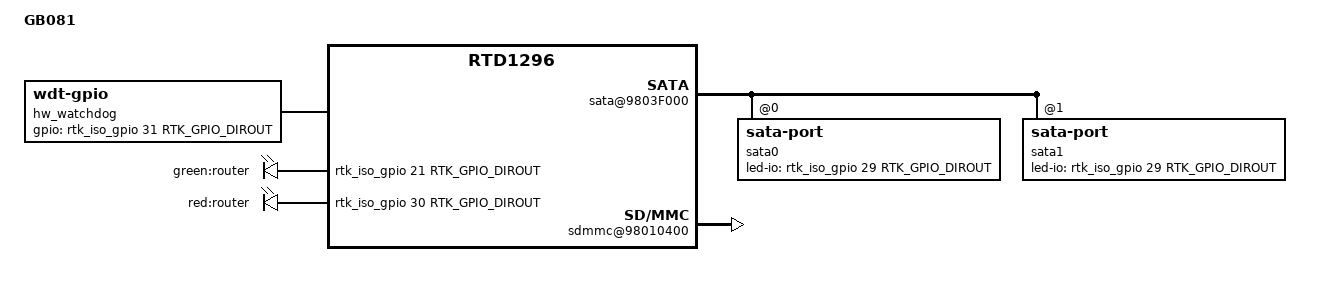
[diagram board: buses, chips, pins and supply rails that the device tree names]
/dts-v1/;

#include "rtd1296-4GB.dtsi"

/include/ "rtd1296-nonat.dtsi"

/ {
	model= "GB081";
	chosen {
		default-hostname = "iStoreOS";
	};

	aliases {
		led-boot = &led_green;
		led-failsafe = &led_red;
		led-running = &led_green;
		led-upgrade = &led_red;
	};

	hw_watchdog {
		compatible = "linux,wdt-gpio";
		gpios = <&rtk_iso_gpio 31 RTK_GPIO_DIROUT GPIO_ACTIVE_HIGH>;
		hw_algo = "toggle";
		hw_margin_ms = <2000>;
		always-running;
	};

	sata@9803F000 {
		sata0: sata-port@0 {
			led-io = <&rtk_iso_gpio 29 RTK_GPIO_DIROUT 0>;
		};
		sata1: sata-port@1 {
			led-io = <&rtk_iso_gpio 29 RTK_GPIO_DIROUT 0>;
			/delete-property/ gpios; // SATA power is not assignd to gpio, (original igpio15)
		};
	};

	sdmmc@98010400 {
		status = "okay";
	};

	hwnat: gmac@98060000 {
		led-gpios = <&rtk_iso_gpio 27 RTK_GPIO_DIROUT GPIO_ACTIVE_HIGH>, <&rtk_iso_gpio 28 RTK_GPIO_DIROUT GPIO_ACTIVE_HIGH>;
		gpio_link_led_pattern = <0 2 2 1>;
	};

	rtk_misc_gpio: rtk_misc_gpio@9801b100 {
		gpios = <&rtk_misc_gpio 8 RTK_GPIO_DIRIN 0>;
	};

	rtk_iso_gpio: rtk_iso_gpio@98007100 {
		/* WAN led, USB power */
		gpios = <&rtk_iso_gpio 32 RTK_GPIO_DIROUT 0>;
	};

	ehci@98013000 {
		status = "disabled";
	};
	ohci@98013400 {
		status = "disabled";
	};
	rtk_dwc3_drd@98013200 {
		dwc3_drd@98020000 {
			dr_mode = "host";
		};
		rtk_dwc3_drd_type_c@0 {
			/delete-property/ drd_mode;
		};
	};
	rtk_dwc3_u2host@98013E00 {
		status = "disabled";
		dwc3_u2host@98029000 {
			status = "disabled";
		};
	};
	dwc3_u2host_usb2phy@0 {
		status = "disabled";
	};
	usb_phy_rle0599@0 {
		status = "disabled";
	};
	rtk_usb_power_manager@0 {
		/* For port0 */
		gpio0: gpio0 {
			realtek,power-gpio = <&rtk_iso_gpio 32 RTK_GPIO_DIROUT 0>;
		};
		/* For port1 and port2 */
		gpio1: gpio1 {
			realtek,power-gpio;
		};
		/* For port2 */
		gpio2: gpio2 {
			realtek,power-gpio;
		};
		/* For port3 */
		gpio3: gpio3 {
			realtek,power-gpio;
		};
	};

	leds {
		compatible = "gpio-leds";

		led_green: green {
			label = "green:router";
			gpios = <&rtk_iso_gpio 21 RTK_GPIO_DIROUT GPIO_ACTIVE_HIGH>;
			default-state = "on";
		};
		led_red: red {
			label = "red:router";
			gpios = <&rtk_iso_gpio 30 RTK_GPIO_DIROUT GPIO_ACTIVE_HIGH>;
		};
		/*
		eth0_link {
			label = "eth0:link";
			gpios = <&rtk_iso_gpio 27 RTK_GPIO_DIROUT GPIO_ACTIVE_HIGH>;
		};
		eth0_txrx {
			label = "eth0:txrx";
			gpios = <&rtk_iso_gpio 28 RTK_GPIO_DIROUT GPIO_ACTIVE_HIGH>;
		};
		*/
	};
	keys {
		/delete-node/ reset;
		/*
		reset {
			gpios = <&rtk_misc_gpio 100 RTK_GPIO_DIRIN GPIO_ACTIVE_LOW>;
		};
		*/
	};
};
